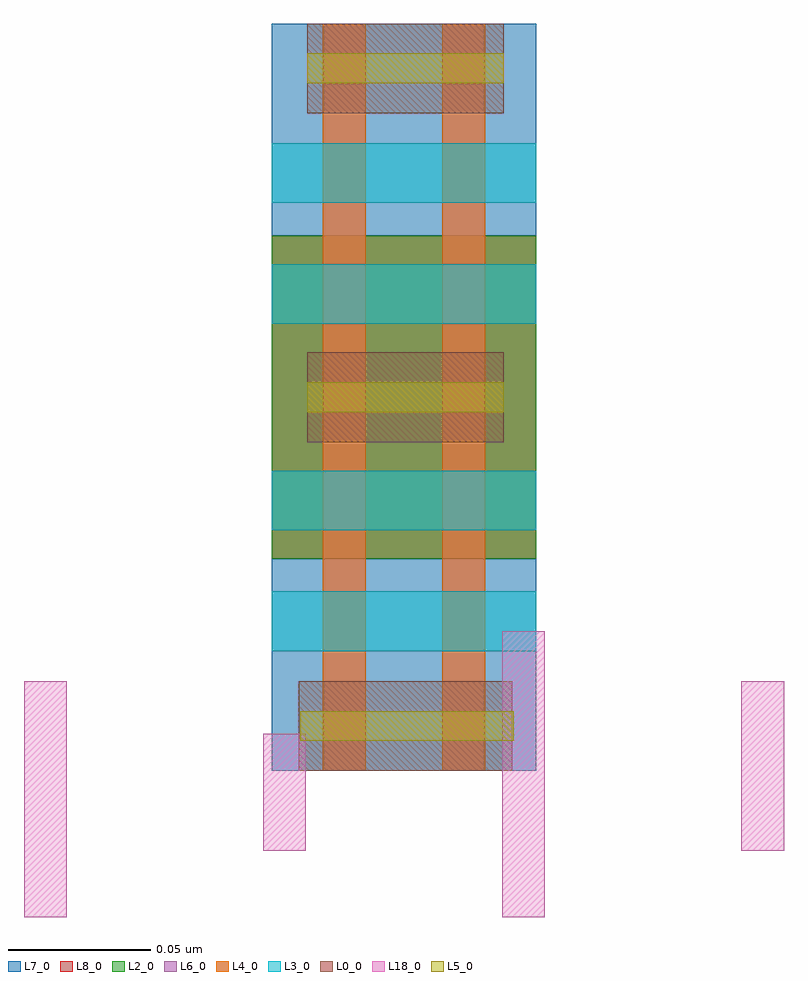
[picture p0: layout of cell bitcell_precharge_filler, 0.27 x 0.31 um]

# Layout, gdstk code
import gdstk
lib = gdstk.Library(unit=1e-6, precision=5e-10)
def R(c, l, rs):  # rectangles x0, y0, x1, y1
    for r in rs: c.add(gdstk.rectangle(r[:2], r[2:], *l))
L0_0 = (0, 0)
L2_0 = (2, 0)
L3_0 = (3, 0)
L4_0 = (4, 0)
L5_0 = (5, 0)
L6_0 = (6, 0)
L7_0 = (7, 0)
L8_0 = (8, 0)
L18_0 = (18, 0)

bitcell_precharge_filler = lib.new_cell('bitcell_precharge_filler')
R(bitcell_precharge_filler, L0_0, [(-0.0375,0,0.0375,0.0315), (-0.0345,0.1155,0.0345,0.147), (-0.0345,0.231,0.0345,0.2625)])
R(bitcell_precharge_filler, L2_0, [(-0.047,0.0745,0.046,0.188)])
R(bitcell_precharge_filler, L3_0, [(-0.047,0.042,0.046,0.063), (-0.047,0.0845,0.046,0.1055), (-0.047,0.157,0.046,0.178), (-0.047,0.1995,0.046,0.2205)])
R(bitcell_precharge_filler, L4_0, [(-0.029,0,-0.014,0.2625), (0.013,0,0.028,0.2625)])
R(bitcell_precharge_filler, L5_0, [(-0.037,0.0105,0.038,0.021), (-0.0345,0.126,0.0345,0.1365), (-0.0345,0.2415,0.0345,0.252)])
R(bitcell_precharge_filler, L6_0, [(-0.029,0,-0.014,0.2625), (0.013,0,0.028,0.2625)])
R(bitcell_precharge_filler, L7_0, [(-0.047,0,0.046,0.0745), (-0.047,0.188,0.046,0.2625)])
R(bitcell_precharge_filler, L8_0, [(-0.047,0.0745,0.046,0.188)])
R(bitcell_precharge_filler, L18_0, [(-0.134,-0.0515,-0.119,0.0315), (0.034,-0.0515,0.049,0.049), (-0.05,-0.028,-0.035,0.013), (0.118,-0.028,0.133,0.0315)])

lib.write_gds('bitcell_precharge_filler.gds')
